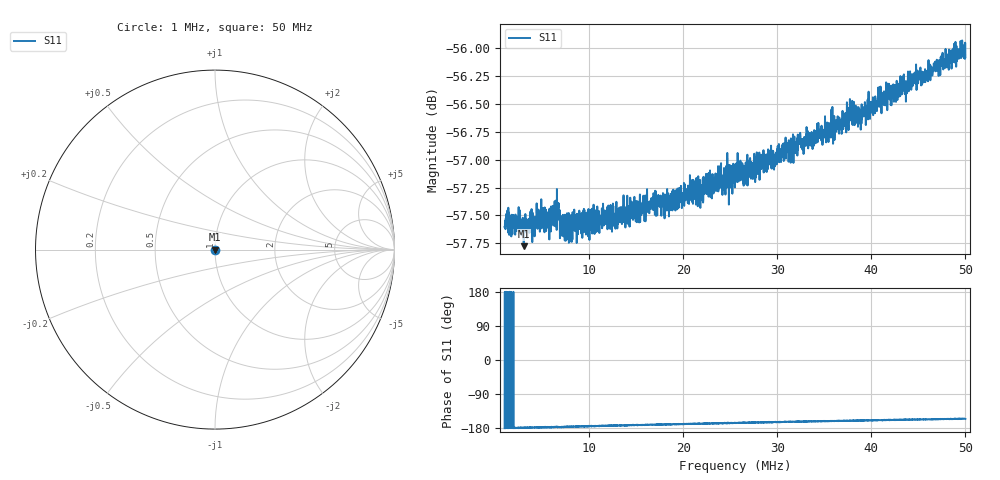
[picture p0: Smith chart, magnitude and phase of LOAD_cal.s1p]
! Created with skrf (http://scikit-rf.org).
# Hz S RI R 50.0
!freq ReS11 ImS11
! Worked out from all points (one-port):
!   2000 points, 1 MHz to 50 MHz, reference 50 ohm
!   lowest |S11| = -57.8 dB at 3.034 MHz (marker M1), VSWR 1.00, Z = 49.9 - j0.00202 ohm
!   |S11| at or under -10 dB: start of sweep to end of sweep
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1000000  -0.00132 -2.26e-06
2446208  -0.00131 -2.23e-05
3034496  -0.00129 -2.02e-05
4652288  -0.00133 -5.92e-05
5755328  -0.0013 -6.33e-05
6564224  -0.00137 -7.24e-05
7128000  -0.00131 -7.75e-05
1.3256e7  -0.00133 -0.000173
1.379526e7  -0.00133 -0.000193
1.408941e7  -0.00131 -0.000171
1.460416e7  -0.00132 -0.000198
1.506989e7  -0.00131 -0.000195
1.666317e7  -0.00134 -0.000204
1.9384e7  -0.00135 -0.000257
2.5512e7  -0.00136 -0.000337
2.909075e7  -0.00136 -0.000385
2.96055e7  -0.00136 -0.000398
3.068403e7  -0.00135 -0.000407
3.164e7  -0.00137 -0.000415
3.664045e7  -0.00137 -0.000493
3.7768e7  -0.0014 -0.000515
3.874848e7  -0.00138 -0.000509
4.090554e7  -0.0014 -0.000552
4.12487e7  -0.0014 -0.000551
4.3896e7  -0.00143 -0.000602
4.568538e7  -0.00142 -0.000604
4.958278e7  -0.00144 -0.000667
4.999949e7  -0.00143 -0.000653
